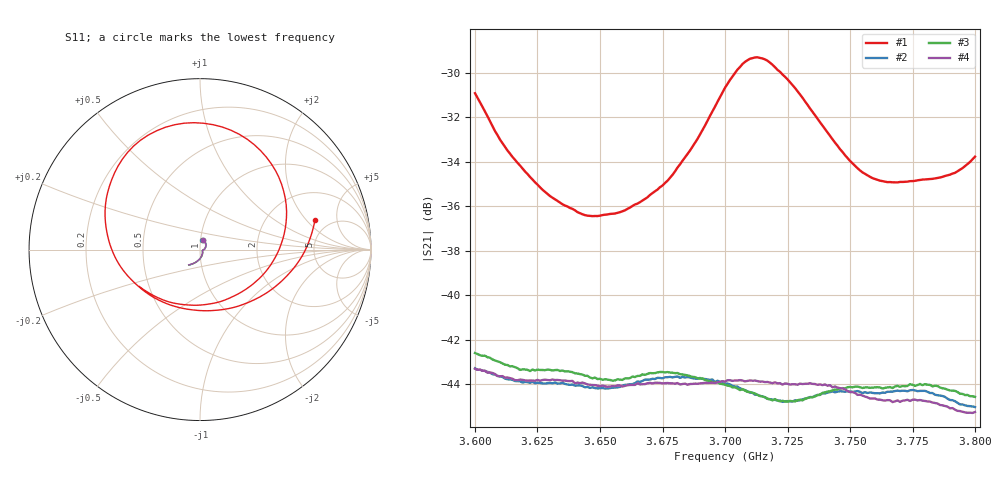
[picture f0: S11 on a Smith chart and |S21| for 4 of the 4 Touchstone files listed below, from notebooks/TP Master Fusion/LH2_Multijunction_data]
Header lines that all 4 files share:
#  HZ  S  DB  R  50.00
! Rohde & Schwarz ZVB8 2Ports - Version 3.70 - 1145.1010k08 SN: 100925
! Measurements: S11 S21 S12 S22
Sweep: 3.6 GHz to 3.8 GHz
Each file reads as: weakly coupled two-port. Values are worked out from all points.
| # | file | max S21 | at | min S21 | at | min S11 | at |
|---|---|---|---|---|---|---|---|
| 1 | calibration.s2p | -29.31 dB | 3.713 GHz | -36.5 dB | 3.647 GHz | -9.8 dB | 3.766 GHz |
| 2 | fwd1.s2p | -43.29 dB | 3.6 GHz | -45.0 dB | 3.8 GHz | -37.1 dB | 3.717 GHz |
| 3 | fwd2.s2p | -42.61 dB | 3.6 GHz | -44.8 dB | 3.725 GHz | -36.0 dB | 3.715 GHz |
| 4 | fwd3.s2p | -43.32 dB | 3.6 GHz | -45.3 dB | 3.799 GHz | -36.2 dB | 3.715 GHz |
